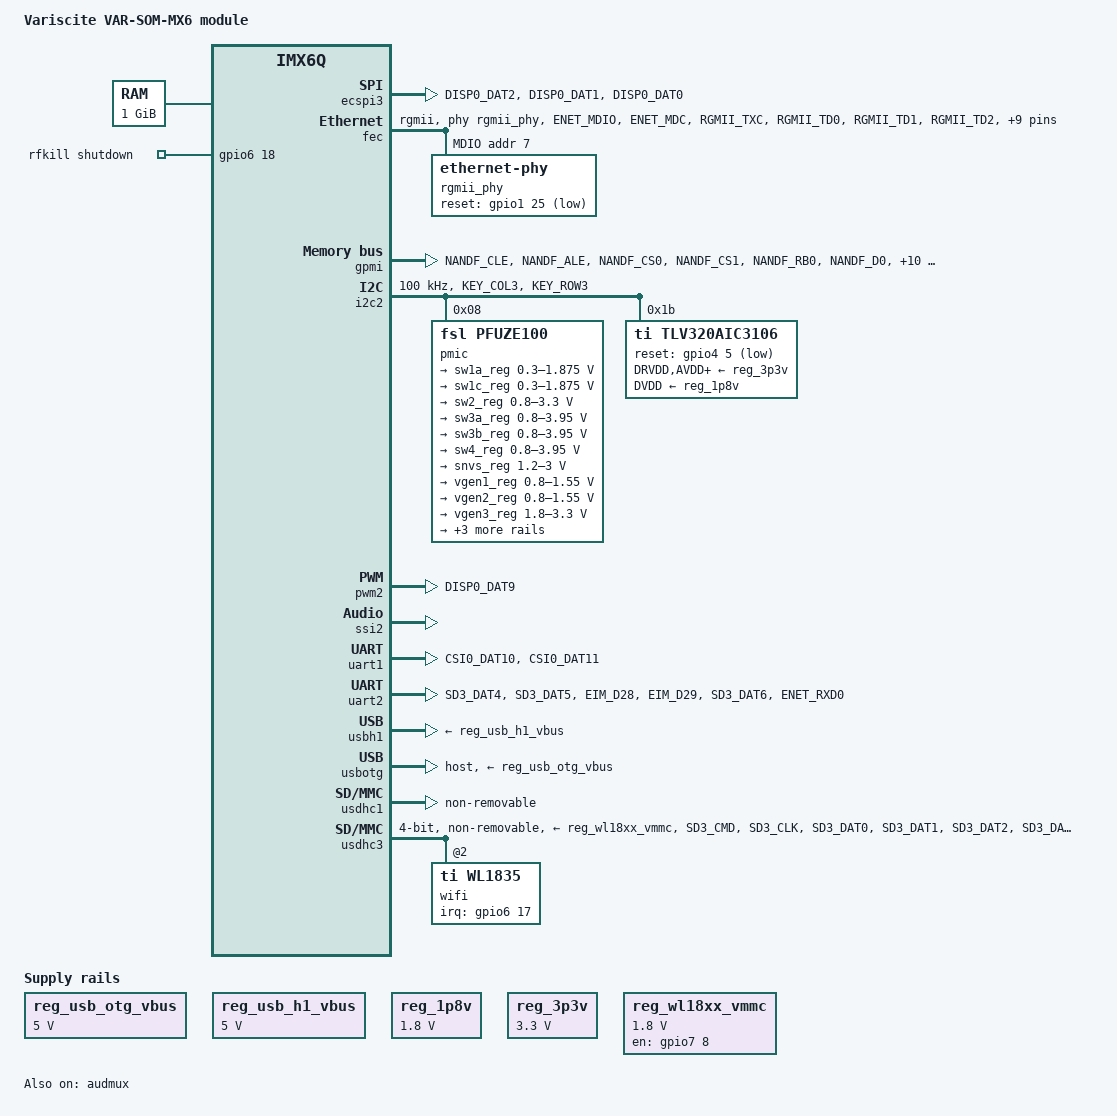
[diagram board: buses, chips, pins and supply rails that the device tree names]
// SPDX-License-Identifier: GPL-2.0+
/*
 * Support for Variscite VAR-SOM-MX6 Module
 *
 * Copyright 2011 Linaro Ltd.
 * Copyright 2012 Freescale Semiconductor, Inc.
 * Copyright (C) 2014-2016 Variscite, Ltd.
 * Author: Donio Ron <ron.d@variscite.com>
 * Copyright 2022 Bootlin
 */

/dts-v1/;

#include "imx6q.dtsi"
#include <dt-bindings/clock/imx6qdl-clock.h>
#include <dt-bindings/gpio/gpio.h>
#include <dt-bindings/sound/fsl-imx-audmux.h>

/ {
	model = "Variscite VAR-SOM-MX6 module";
	compatible = "variscite,var-som-imx6q", "fsl,imx6q";

	chosen {
		stdout-path = &uart1;
	};

	memory@10000000 {
		device_type = "memory";
		reg = <0x10000000 0x40000000>;
	};

	reg_usb_otg_vbus: regulator-usb-otg-vbus {
		compatible = "regulator-fixed";
		regulator-name = "usb_otg_vbus";
		regulator-min-microvolt = <5000000>;
		regulator-max-microvolt = <5000000>;
	};

	reg_usb_h1_vbus: regulator-usb-h1-vbud {
		compatible = "regulator-fixed";
		regulator-name = "usb_h1_vbus";
		regulator-min-microvolt = <5000000>;
		regulator-max-microvolt = <5000000>;
	};

	reg_1p8v: regulator-1p8v {
		compatible = "regulator-fixed";
		regulator-name = "1P8V";
		regulator-min-microvolt = <1800000>;
		regulator-max-microvolt = <1800000>;
		regulator-always-on;
	};

	reg_3p3v: regulator-3p3v {
		compatible = "regulator-fixed";
		regulator-name = "3P3V";
		regulator-min-microvolt = <3300000>;
		regulator-max-microvolt = <3300000>;
		regulator-always-on;
	};

	reg_wl18xx_vmmc: regulator-wl18xx {
		compatible = "regulator-fixed";
		regulator-name = "vwl1807";
		regulator-min-microvolt = <1800000>;
		regulator-max-microvolt = <1800000>;
		gpio = <&gpio7 8 GPIO_ACTIVE_HIGH>;
		enable-active-high;
		startup-delay-us = <70000>;
	};

	sound: sound {
		compatible = "simple-audio-card";
		simple-audio-card,name = "var-som-audio";
		simple-audio-card,format = "i2s";
		simple-audio-card,bitclock-master = <&sound_codec>;
		simple-audio-card,frame-master = <&sound_codec>;
		simple-audio-card,widgets = "Headphone", "Headphone Jack",
					    "Line", "Line In", "Microphone", "Mic Jack";
		simple-audio-card,routing = "Headphone Jack", "HPLOUT",
					    "Headphone Jack", "HPROUT",
					    "LINE1L", "Line In",
					    "LINE1R", "Line In";

		sound_cpu: simple-audio-card,cpu {
			sound-dai = <&ssi2>;
		};

		sound_codec: simple-audio-card,codec {
			sound-dai = <&tlv320aic3106>;
			clocks = <&clks IMX6QDL_CLK_CKO>;
		};
	};

	rfkill {
		compatible = "rfkill-gpio";
		name = "rfkill";
		radio-type = "bluetooth";
		shutdown-gpios = <&gpio6 18 GPIO_ACTIVE_HIGH>;
	};
};

&audmux {
	pinctrl-names = "default";
	pinctrl-0 = <&pinctrl_audmux>;
	status = "okay";

	mux-ssi2 {
		fsl,audmux-port = <1>;
		fsl,port-config = <
			(IMX_AUDMUX_V2_PTCR_SYN |
			IMX_AUDMUX_V2_PTCR_TFSDIR |
			IMX_AUDMUX_V2_PTCR_TFSEL(2) |
			IMX_AUDMUX_V2_PTCR_TCLKDIR |
			IMX_AUDMUX_V2_PTCR_TCSEL(2))
			IMX_AUDMUX_V2_PDCR_RXDSEL(2)
		>;
	};

	mux-aud3 {
		fsl,audmux-port = <2>;
		fsl,port-config = <
			IMX_AUDMUX_V2_PTCR_SYN
			IMX_AUDMUX_V2_PDCR_RXDSEL(1)
		>;
	};
};

&ecspi3 {
	pinctrl-names = "default";
	pinctrl-0 = <&pinctrl_ecspi3>;
	cs-gpios = <&gpio4 24 GPIO_ACTIVE_LOW>;
	status = "okay";
};

&fec {
	pinctrl-names = "default";
	pinctrl-0 = <&pinctrl_enet>;
	phy-mode = "rgmii";
	phy-handle = <&rgmii_phy>;
	status = "okay";

	mdio {
		#address-cells = <1>;
		#size-cells = <0>;

		rgmii_phy: ethernet-phy@7 {
			reg = <7>;
			reset-gpios = <&gpio1 25 GPIO_ACTIVE_LOW>;
			reset-assert-us = <10000>;
		};
	};
};

&gpmi {
	pinctrl-names = "default";
	pinctrl-0 = <&pinctrl_gpmi_nand>;
	status = "okay";
};

&i2c2 {
	clock-frequency = <100000>;
	pinctrl-names = "default";
	pinctrl-0 = <&pinctrl_i2c2>;
	status = "okay";

	pmic@8 {
		compatible = "fsl,pfuze100";
		reg = <0x08>;
		pinctrl-names = "default";
		pinctrl-0 = <&pinctrl_pmic>;

		regulators {
			sw1a_reg: sw1ab {
				regulator-min-microvolt = <300000>;
				regulator-max-microvolt = <1875000>;
				regulator-boot-on;
				regulator-always-on;
				regulator-ramp-delay = <6250>;
			};

			sw1c_reg: sw1c {
				regulator-min-microvolt = <300000>;
				regulator-max-microvolt = <1875000>;
				regulator-boot-on;
				regulator-always-on;
				regulator-ramp-delay = <6250>;
			};

			sw2_reg: sw2 {
				regulator-min-microvolt = <800000>;
				regulator-max-microvolt = <3300000>;
				regulator-boot-on;
				regulator-always-on;
			};

			sw3a_reg: sw3a {
				regulator-min-microvolt = <800000>;
				regulator-max-microvolt = <3950000>;
				regulator-boot-on;
				regulator-always-on;
			};

			sw3b_reg: sw3b {
				regulator-min-microvolt = <800000>;
				regulator-max-microvolt = <3950000>;
				regulator-boot-on;
				regulator-always-on;
			};

			sw4_reg: sw4 {
				regulator-min-microvolt = <800000>;
				regulator-max-microvolt = <3950000>;
			};

			snvs_reg: vsnvs {
				regulator-min-microvolt = <1200000>;
				regulator-max-microvolt = <3000000>;
				regulator-boot-on;
				regulator-always-on;
			};

			vref_reg: vrefddr {
				regulator-boot-on;
				regulator-always-on;
			};

			vgen1_reg: vgen1 {
				regulator-min-microvolt = <800000>;
				regulator-max-microvolt = <1550000>;
			};

			vgen2_reg: vgen2 {
				regulator-min-microvolt = <800000>;
				regulator-max-microvolt = <1550000>;
			};

			vgen3_reg: vgen3 {
				regulator-min-microvolt = <1800000>;
				regulator-max-microvolt = <3300000>;
				regulator-always-on;
				regulator-boot-on;
			};

			vgen4_reg: vgen4 {
				regulator-min-microvolt = <1800000>;
				regulator-max-microvolt = <3300000>;
				regulator-always-on;
				regulator-boot-on;
			};

			vgen5_reg: vgen5 {
				regulator-min-microvolt = <1800000>;
				regulator-max-microvolt = <3300000>;
				regulator-always-on;
				regulator-boot-on;
			};

			vgen6_reg: vgen6 {
				regulator-min-microvolt = <2800000>;
				regulator-max-microvolt = <2800000>;
				regulator-always-on;
				regulator-boot-on;
			};
		};
	};

	tlv320aic3106: audio-codec@1b {
		compatible = "ti,tlv320aic3106";
		reg = <0x1b>;
		#sound-dai-cells = <0>;
		DRVDD-supply = <&reg_3p3v>;
		AVDD-supply = <&reg_3p3v>;
		IOVDD-supply = <&reg_3p3v>;
		DVDD-supply = <&reg_1p8v>;
		ai3x-ocmv = <0>;
		reset-gpios = <&gpio4 5 GPIO_ACTIVE_LOW>;
		ai3x-gpio-func = <
			0 /* AIC3X_GPIO1_FUNC_DISABLED */
			5 /* AIC3X_GPIO2_FUNC_DIGITAL_MIC_INPUT */
		>;
	};
};

&iomuxc {
	pinctrl-names = "default";
	pinctrl-0 = <&pinctrl_hog>;

	pinctrl_audmux: audmuxgrp {
		fsl,pins = <
			MX6QDL_PAD_CSI0_DAT7__AUD3_RXD		0x130b0
			MX6QDL_PAD_CSI0_DAT4__AUD3_TXC		0x130b0
			MX6QDL_PAD_CSI0_DAT5__AUD3_TXD		0x110b0
			MX6QDL_PAD_CSI0_DAT6__AUD3_TXFS		0x130b0
			/* Audio Clock */
			MX6QDL_PAD_GPIO_0__CCM_CLKO1		0x130b0
		>;
	};

	pinctrl_bt: btgrp {
		fsl,pins = <
			/* Bluetooth/wifi enable */
			MX6QDL_PAD_SD3_DAT6__GPIO6_IO18		0x1b0b1
			/* Wifi Slow Clock */
			MX6QDL_PAD_ENET_RXD0__OSC32K_32K_OUT	0x000b0
		>;
	};

	pinctrl_ecspi3: ecspi3grp {
		fsl,pins = <
			MX6QDL_PAD_DISP0_DAT2__ECSPI3_MISO	0x100b1
			MX6QDL_PAD_DISP0_DAT1__ECSPI3_MOSI	0x100b1
			MX6QDL_PAD_DISP0_DAT0__ECSPI3_SCLK	0x100b1
		>;
	};

	pinctrl_enet: enetgrp {
		fsl,pins = <
			MX6QDL_PAD_ENET_MDIO__ENET_MDIO		0x1b0b0
			MX6QDL_PAD_ENET_MDC__ENET_MDC		0x1b0b0
			MX6QDL_PAD_RGMII_TXC__RGMII_TXC		0x1b0b0
			MX6QDL_PAD_RGMII_TD0__RGMII_TD0		0x1b0b0
			MX6QDL_PAD_RGMII_TD1__RGMII_TD1		0x1b0b0
			MX6QDL_PAD_RGMII_TD2__RGMII_TD2		0x1b0b0
			MX6QDL_PAD_RGMII_TD3__RGMII_TD3		0x1b0b0
			MX6QDL_PAD_RGMII_TX_CTL__RGMII_TX_CTL	0x1b0b0
			MX6QDL_PAD_ENET_REF_CLK__ENET_TX_CLK	0x1b0b0
			MX6QDL_PAD_RGMII_RXC__RGMII_RXC		0x1b0b0
			MX6QDL_PAD_RGMII_RD0__RGMII_RD0		0x1b0b0
			MX6QDL_PAD_RGMII_RD1__RGMII_RD1		0x1b0b0
			MX6QDL_PAD_RGMII_RD2__RGMII_RD2		0x1b0b0
			MX6QDL_PAD_RGMII_RD3__RGMII_RD3		0x1b0b0
			MX6QDL_PAD_RGMII_RX_CTL__RGMII_RX_CTL	0x1b0b0
		>;
	};

	pinctrl_enet_irq: enetirqgrp {
		fsl,pins = <
			MX6QDL_PAD_GPIO_6__ENET_IRQ	0x000b1
		>;
	};

	pinctrl_gpmi_nand: gpminandgrp {
		fsl,pins = <
			MX6QDL_PAD_NANDF_CLE__NAND_CLE		0xb0b1
			MX6QDL_PAD_NANDF_ALE__NAND_ALE		0xb0b1
			MX6QDL_PAD_NANDF_CS0__NAND_CE0_B	0xb0b1
			MX6QDL_PAD_NANDF_CS1__NAND_CE1_B	0xb0b1
			MX6QDL_PAD_NANDF_RB0__NAND_READY_B	0xb0b1
			MX6QDL_PAD_NANDF_D0__NAND_DATA00	0xb0b1
			MX6QDL_PAD_NANDF_D1__NAND_DATA01	0xb0b1
			MX6QDL_PAD_NANDF_D2__NAND_DATA02	0xb0b1
			MX6QDL_PAD_NANDF_D3__NAND_DATA03	0xb0b1
			MX6QDL_PAD_NANDF_D4__NAND_DATA04	0xb0b1
			MX6QDL_PAD_NANDF_D5__NAND_DATA05	0xb0b1
			MX6QDL_PAD_NANDF_D6__NAND_DATA06	0xb0b1
			MX6QDL_PAD_NANDF_D7__NAND_DATA07	0xb0b1
			MX6QDL_PAD_SD4_CMD__NAND_RE_B		0xb0b1
			MX6QDL_PAD_SD4_CLK__NAND_WE_B		0xb0b1
			MX6QDL_PAD_NANDF_WP_B__NAND_WP_B	0xb0b1
		>;
	};

	pinctrl_hog: hoggrp {
		fsl,pins = <
			/* CTW6120 IRQ */
			MX6QDL_PAD_EIM_DA7__GPIO3_IO07		0xb0b1
			/* SDMMC2 CD/WP */
			MX6QDL_PAD_KEY_COL4__GPIO4_IO14		0x1b0b0
			MX6QDL_PAD_KEY_ROW4__GPIO4_IO15		0x1b0b0
		>;
	};

	pinctrl_i2c1: i2c1grp {
		fsl,pins = <
			MX6QDL_PAD_CSI0_DAT8__I2C1_SDA	0x4001b8b1
			MX6QDL_PAD_CSI0_DAT9__I2C1_SCL	0x4001b8b1
		>;
	};

	pinctrl_i2c2: i2c2grp {
		fsl,pins = <
			MX6QDL_PAD_KEY_COL3__I2C2_SCL	0x4001b8b1
			MX6QDL_PAD_KEY_ROW3__I2C2_SDA	0x4001b8b1
		>;
	};

	pinctrl_i2c3: i2c3grp {
		fsl,pins = <
			MX6QDL_PAD_GPIO_5__I2C3_SCL	0x4001b8b1
			MX6QDL_PAD_GPIO_16__I2C3_SDA	0x4001b8b1
		>;
	};

	pinctrl_pmic: pmicgrp {
		fsl,pins = <
			/* PMIC INT */
			MX6QDL_PAD_GPIO_17__GPIO7_IO12	0x1b0b0
		>;
	};

	pinctrl_pwm2: pwm2grp {
		fsl,pins = <
			MX6QDL_PAD_DISP0_DAT9__PWM2_OUT	0x1b0b1
		>;
	};

	pinctrl_uart1: uart1grp {
		fsl,pins = <
			MX6QDL_PAD_CSI0_DAT10__UART1_TX_DATA 0x1b0b1
			MX6QDL_PAD_CSI0_DAT11__UART1_RX_DATA 0x1b0b1
		>;
	};

	pinctrl_uart2: uart2grp {
		fsl,pins = <
			MX6QDL_PAD_SD3_DAT4__UART2_RX_DATA	0x1b0b1
			MX6QDL_PAD_SD3_DAT5__UART2_TX_DATA	0x1b0b1
			MX6QDL_PAD_EIM_D28__UART2_CTS_B		0x1b0b1
			MX6QDL_PAD_EIM_D29__UART2_RTS_B		0x1b0b1
		>;
	};

	pinctrl_usdhc3: usdhc3grp {
		fsl,pins = <
			MX6QDL_PAD_SD3_CMD__SD3_CMD	0x17069
			MX6QDL_PAD_SD3_CLK__SD3_CLK	0x10069
			MX6QDL_PAD_SD3_DAT0__SD3_DATA0	0x17069
			MX6QDL_PAD_SD3_DAT1__SD3_DATA1	0x17069
			MX6QDL_PAD_SD3_DAT2__SD3_DATA2	0x17069
			MX6QDL_PAD_SD3_DAT3__SD3_DATA3	0x17069
			/* WL_EN */
			MX6QDL_PAD_SD3_DAT7__GPIO6_IO17 0x13059
			/* WL_IRQ */
			MX6QDL_PAD_SD3_RST__GPIO7_IO08  0x13059
		>;
	};

	pinctrl_usdhc3_100mhz: usdhc3-100mhz-grp {
		fsl,pins = <
			MX6QDL_PAD_SD3_CMD__SD3_CMD	0x170B9
			MX6QDL_PAD_SD3_CLK__SD3_CLK	0x100B9
			MX6QDL_PAD_SD3_DAT0__SD3_DATA0	0x170B9
			MX6QDL_PAD_SD3_DAT1__SD3_DATA1	0x170B9
			MX6QDL_PAD_SD3_DAT3__SD3_DATA3	0x170B9
			MX6QDL_PAD_SD3_DAT3__SD3_DATA3	0x170B9
			/* WL_EN */
			MX6QDL_PAD_SD3_DAT7__GPIO6_IO17 0x130B9
			/* WL_IRQ */
			MX6QDL_PAD_SD3_RST__GPIO7_IO08  0x130B9
		>;
	};

	pinctrl_usdhc3_200mhz: usdhc3-200mhz-grp {
		fsl,pins = <
			MX6QDL_PAD_SD3_CMD__SD3_CMD	0x170F9
			MX6QDL_PAD_SD3_CLK__SD3_CLK	0x100F9
			MX6QDL_PAD_SD3_DAT0__SD3_DATA0	0x170F9
			MX6QDL_PAD_SD3_DAT1__SD3_DATA1	0x170F9
			MX6QDL_PAD_SD3_DAT2__SD3_DATA2	0x170F9
			MX6QDL_PAD_SD3_DAT3__SD3_DATA3	0x170F9
			/* WL_EN */
			MX6QDL_PAD_SD3_DAT7__GPIO6_IO17 0x130F9
			/* WL_IRQ */
			MX6QDL_PAD_SD3_RST__GPIO7_IO08  0x130F9
		>;
	};
};

&pwm2 {
	pinctrl-names = "default";
	pinctrl-0 = <&pinctrl_pwm2>;
	status = "okay";
};

&reg_arm {
	vin-supply = <&sw1a_reg>;
};

&reg_pu {
	vin-supply = <&sw1c_reg>;
};

&reg_soc {
	vin-supply = <&sw1c_reg>;
};

&reg_vdd1p1 {
	vin-supply = <&vgen5_reg>;
};

&reg_vdd2p5 {
	vin-supply = <&vgen5_reg>;
};

&snvs_poweroff {
	status = "okay";
};

&ssi2 {
	status = "okay";
};

&uart1 {
	pinctrl-names = "default";
	pinctrl-0 = <&pinctrl_uart1>;
	status = "okay";
};

&uart2 {
	pinctrl-names = "default";
	pinctrl-0 = <&pinctrl_uart2 &pinctrl_bt>;
	uart-has-rtscts;
	status = "okay";
};

&usbh1 {
	vbus-supply = <&reg_usb_h1_vbus>;
	status = "okay";
};

&usbotg {
	vbus-supply = <&reg_usb_otg_vbus>;
	pinctrl-names = "default";
	pinctrl-0 = <&pinctrl_usbotg_var>;
	disable-over-current;
	dr_mode = "host";
	status = "okay";
};

&usbphy1 {
	fsl,tx-d-cal = <0x5>;
};

&usbphy2 {
	fsl,tx-d-cal = <0x5>;
};

&usdhc1 {
	pinctrl-names = "default";
	pinctrl-0 = <&pinctrl_usdhc1>;
	non-removable;
	keep-power-in-suspend;
	status = "okay";
};

&usdhc3 {
	pinctrl-names = "default", "state_100mhz", "state_200mhz";
	pinctrl-0 = <&pinctrl_usdhc3>;
	pinctrl-1 = <&pinctrl_usdhc3_100mhz>;
	pinctrl-2 = <&pinctrl_usdhc3_200mhz>;
	bus-width = <4>;
	vmmc-supply = <&reg_wl18xx_vmmc>;
	non-removable;
	wakeup-source;
	keep-power-in-suspend;
	cap-power-off-card;
	#address-cells = <1>;
	#size-cells = <0>;
	status = "okay";

	wifi: wifi@2 {
		compatible = "ti,wl1835";
		reg = <2>;
		interrupt-parent = <&gpio6>;
		interrupts = <17 IRQ_TYPE_EDGE_RISING>;
		ref-clock-frequency = <38400000>;
	};
};
